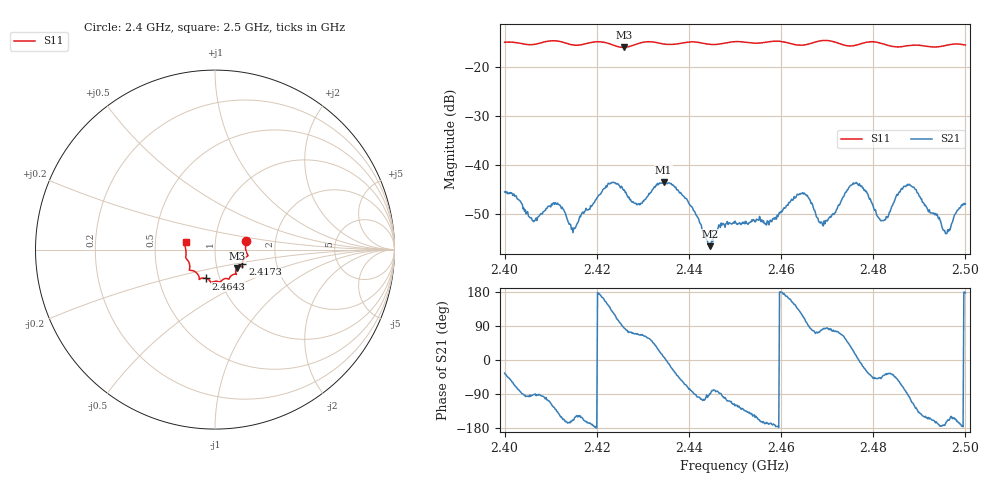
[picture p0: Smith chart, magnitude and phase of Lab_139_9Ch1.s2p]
# Hz S RI R 50
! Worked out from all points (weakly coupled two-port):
!   601 points, 2.4 GHz to 2.5 GHz, reference 50 ohm
!   highest |S21| = -43.56 dB at 2.4345 GHz (marker M1); lowest = -56.7 dB at 2.4447 GHz (marker M2)
!   lowest |S11| = -15.9 dB at 2.4258 GHz (marker M3), VSWR 1.38, Z = 62.3 - j13.2 ohm
!   |S11| at or under -10 dB: start of sweep to end of sweep
!   S12 and S22 are empty: the file has one direction only
!   S11 on the Smith chart (normalised r, x): 2.4 GHz: 1.41, +0.14; 2.4173 GHz: 1.34, -0.23; 2.4643 GHz: 0.86, -0.28; 2.5 GHz: 0.72, +0.06
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2.4e9  0.1733 0.0495  0.00435 -0.00298  0 0  0 0
2.406167e9  0.1709 -0.000561  -8.7e-05 -0.00266  0 0  0 0
2.411e9  0.1835 -0.0344  -0.00263 -0.00313  0 0  0 0
2.414833e9  0.1604 -0.0541  -0.00186 -0.000755  0 0  0 0
2.416667e9  0.153 -0.0745  -0.00274 -0.00152  0 0  0 0
2.417333e9  0.1523 -0.0818  -0.00311 -0.00112  0 0  0 0
2.422833e9  0.1464 -0.0936  -0.00483 0.00412  0 0  0 0
2.425833e9  0.1219 -0.1033  0.000411 0.00546  0 0  0 0
2.429167e9  0.1162 -0.1322  0.00157 0.00366  0 0  0 0
2.433333e9  0.1131 -0.1372  0.00554 0.0029  0 0  0 0
2.4345e9  0.1057 -0.1373  0.00657 0.000965  0 0  0 0
2.444667e9  0.0585 -0.1612  2.06e-05 -0.00146  0 0  0 0
2.45e9  0.0293 -0.1806  -0.00136 -0.00227  0 0  0 0
2.457e9  -0.0134 -0.1809  -0.0026 -0.000579  0 0  0 0
2.464333e9  -0.0499 -0.1606  -0.00278 0.00425  0 0  0 0
2.466667e9  -0.0758 -0.1597  0.00075 0.00398  0 0  0 0
2.4695e9  -0.0878 -0.1665  0.000329 0.00246  0 0  0 0
2.476167e9  -0.1182 -0.1193  0.00627 0.00157  0 0  0 0
2.483333e9  -0.1407 -0.0898  0.00248 -0.00175  0 0  0 0
2.487667e9  -0.1585 -0.0525  -0.000529 -0.00618  0 0  0 0
2.4955e9  -0.1658 0.0149  -0.0021 -0.000267  0 0  0 0
2.5e9  -0.1636 0.0421  -0.00395 0.000212  0 0  0 0
